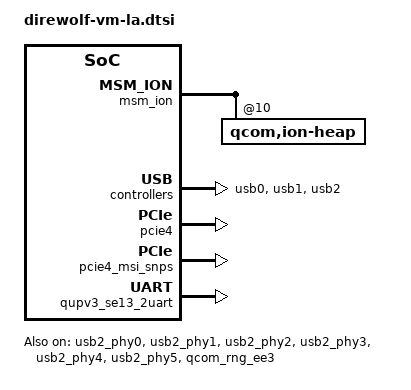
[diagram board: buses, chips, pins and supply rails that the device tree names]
&reserved_memory {
	pmem_shared: pmem_shared_region {
		reg = <0x1 0x66500000 0x0 0x51400000>;
		label = "pmem_shared_mem";
	};

	secure_display_memory: secure_display_region {
		compatible = "shared-dma-pool";
		alloc-ranges = <0x0 0x00000000 0x0 0xffffffff>;
		reusable;
		alignment = <0x0 0x400000>;
		size = <0x0 0x0a000000>;
	};
};

/ {
	rename_blk: rename_blk {
		compatible = "qcom,blkdev-rename";
		actual-dev = "vda", "vdb", "vdc",
				"vdd", "vde", "vdf",
				"vdg", "vdh", "vdi";
		rename-dev = "system", "userdata", "vendor",
				"persist", "modem", "bluetooth",
				"misc", "vbmeta";
		rename-dev-ab = "super", "userdata", "metadata",
				"persist", "modem_a", "bluetooth_a",
				"misc", "vbmeta_a", "vbmeta_b";
	};
};

#include "display/quin-vm-display-la.dtsi"
#include "direwolf-cnss.dtsi"

&msm_ion {
	qcom,ion-heap@10 {
		reg = <ION_SECURE_DISPLAY_HEAP_ID>;
		memory-region = <&secure_display_memory>;
		qcom,ion-heap-type = "HYP_CMA";
	};
};

&usb0 {
	status = "okay";
};

&usb2_phy0 {
	status = "okay";
};

&usb1 {
	status = "okay";
};

&usb2_phy1 {
	status = "okay";
};

&usb2 {
	status = "okay";
};

&usb2_phy2 {
	status = "okay";
};

&usb2_phy3 {
	status = "okay";
};

&usb2_phy4 {
	status = "okay";
};

&usb2_phy5 {
	status = "okay";
};

&pcie4 {
	status = "okay";
};

&pcie4_msi_snps {
	status = "okay";
};

&qupv3_se13_2uart {
	status = "okay";
};

&qcom_rng_ee3 {
	status = "okay";
};
